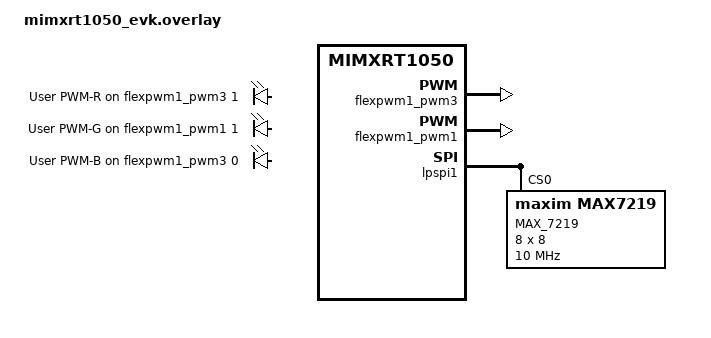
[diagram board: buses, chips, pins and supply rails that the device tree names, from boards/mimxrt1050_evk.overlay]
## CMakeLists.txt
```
set(IS_TEST 1)

cmake_minimum_required(VERSION 3.13.1)
include($ENV{ZEPHYR_BASE}/cmake/app/boilerplate.cmake NO_POLICY_SCOPE)
project(NONE)

FILE(GLOB app_sources src/main.c)
target_sources(app PRIVATE ${app_sources})
```

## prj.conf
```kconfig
CONFIG_PRINTK=y
CONFIG_SHELL=y
CONFIG_KERNEL_SHELL=y
CONFIG_THREAD_MONITOR=y
CONFIG_INIT_STACKS=y
CONFIG_THREAD_NAME=y
CONFIG_DEVICE_SHELL=y
CONFIG_BOOT_BANNER=n
CONFIG_DISPLAY=y
CONFIG_MAX7219=y
#CONFIG_LOG=y
# CONFIG_OBJECT_TRACING=y
CONFIG_PWM=y
CONFIG_SPI=y
```

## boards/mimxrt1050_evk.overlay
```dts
&flexpwm1_pwm3 {
    status = "okay";
};
&flexpwm1_pwm1 {
    status = "okay";
};

&lpspi1 {
    status = "okay";
    display_node: max_7219@0 {
        compatible = "maxim,max7219"; 
        height = <8>;
        width = <8>;
        label = "MAX_7219"; 
        reg = <0>;
        spi-max-frequency = <10000000>; 
    };
};


/ {

    pwm_leds {
        compatible = "pwm-leds";
        r_led: pwm_red {
            pwms = <&flexpwm1_pwm3 1>;
            label = "User PWM-R";
        };

        g_led: pwm_green {
            pwms = <&flexpwm1_pwm1 1>;
            label = "User PWM-G";
        };

        b_led: pwm_blue {
            pwms = <&flexpwm1_pwm3 0>;
            label = "User PWM-B";
        };
    };

 };
```

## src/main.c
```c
/*
 * CSE-522 Assignment 2
 * Author: Roshan Raj Kanakaiprath
 * ASU ID: 1222478062
 */

#include <zephyr.h>
#include <device.h>
#include <devicetree.h>
#include <drivers/pwm.h>
#include <drivers/spi.h>
#include <sys/util.h>
#include <sys/printk.h>
#include <shell/shell.h>
#include <shell/shell_uart.h>
#include <version.h>
#include <stdlib.h>
#include <fsl_iomuxc.h>
#include <drivers/display.h>

//#define DEBUG 

#if defined(DEBUG) 
	#define DPRINTK(fmt, args...) printk("DEBUG: %s():%d: " fmt, \
   		 __func__, __LINE__, ##args)
#else
 	#define DPRINTK(fmt, args...) /* do nothing if not defined*/
#endif

// Use DT marcos to get pwm channel information

#define PWM_NODE_R 			flexpwm1_pwm3
#define PWM_NODE_G			flexpwm1_pwm1
#define PWM_NODE_B			flexpwm1_pwm3

#define RED_PWM				DT_NODELABEL(PWM_NODE_R)
#define GREEN_PWM			DT_NODELABEL(PWM_NODE_G)
#define BLUE_PWM			DT_NODELABEL(PWM_NODE_B)

#define RED_PWM_LABEL 		DT_PROP(RED_PWM, label)
#define GREEN_PWM_LABEL     DT_PROP(GREEN_PWM, label)
#define BLUE_PWM_LABEL      DT_PROP(BLUE_PWM, label)


#define RED_PWM_CHANNEL		DT_PWMS_CHANNEL(DT_NODELABEL(r_led))
#define GREEN_PWM_CHANNEL	DT_PWMS_CHANNEL(DT_NODELABEL(g_led))
#define BLUE_PWM_CHANNEL	DT_PWMS_CHANNEL(DT_NODELABEL(b_led))

#define RED_PWM_FLAGS		DT_PWMS_FLAGS(RED_PWM)
#define GREEN_PWM_FLAGS		DT_PWMS_FLAGS(GREEN_PWM)
#define BLUE_PWM_FLAGS		DT_PWMS_FLAGS(BLUE_PWM)

//USE DT to get DISPLAY NODE Information from overlay
#define DISPLAY_NODE_LABEL	DT_PROP(DT_NODELABEL(display_node),label)
#define MAX_HEIGHT			DT_PROP(DT_NODELABEL(display_node),height)

//PWM Frequency and Period
#define PWM_FREQUENCY			50U
#define PERIOD					USEC_PER_SEC/(PWM_FREQUENCY)


//Create pointers to struct device
const struct device *pwm_red, *pwm_green, *pwm_blue, *display;
static bool blinking_on = false;// Initialize to false
static uint8_t data[MAX_HEIGHT] = {0}; //Initialize to 0

//Shell command callback to implement MAX719_pattern change
static int cmd_led_matrix(const struct shell *shell, size_t argc, char **argv)
{
	uint8_t row_start, height;

	//Error check for number of command arguments
	if (argc < 3)
	{
		shell_print(shell, "Error, Invalid number of arguments\n");
		return 0;
	}

	row_start  = atoi(argv[1]); //Get the row value from command
	height = argc -2;

	//Error check for row bounds
	if(row_start>7)
	{
		shell_print(shell, "Error, row number entered is wrong\n");
		return 0;
	}

	//Error check for max number of command parameters
	if((height)>(MAX_HEIGHT - row_start))
	{
		shell_print(shell, "Error, Invalid number of arguments\n");
		return 0;
	}

	uint8_t loop;

	//Store the command arguments in to data 
	for (loop = 0;loop<height;loop++)
	{
		data[loop + row_start]= strtol(argv[loop+2],NULL,16);
	}

	//Create a structure varialble to point to display_buffer_descriptor
	struct display_buffer_descriptor desc;
	desc.buf_size  = sizeof(data);
	desc.width     = MAX_HEIGHT;
	desc.height    = height;
	desc.pitch		= MAX_HEIGHT;
	
	//Call display driver API to send the data
	display_write(display,0, row_start, &desc, &data);
	return 0;
}

static int cmd_rgb_control(const struct shell *shell, size_t argc, char **argv)
{
	uint32_t rpwm_dc, gpwm_dc, bpwm_dc;
	rpwm_dc = atoi(argv[1]);
	gpwm_dc = atoi(argv[2]);
	bpwm_dc = atoi(argv[3]);

	if(argc != 4)
	{
		shell_print(shell, "Error, Invalid number of arguments\n");
		return 0;
	}
	if((rpwm_dc<0) || (gpwm_dc < 0) || (bpwm_dc < 0) || (rpwm_dc>100) || (gpwm_dc > 100) || (bpwm_dc > 100))
	{
		shell_print(shell, "Error, Arguments must be in the range 0 to 100");
		return 0;
	}
	pwm_pin_set_usec(pwm_red, RED_PWM_CHANNEL, PERIOD, (PERIOD * rpwm_dc)/100, RED_PWM_FLAGS);
	DPRINTK("red blinking\n");
	k_sleep(K_USEC(PERIOD));
	pwm_pin_set_usec(pwm_green, GREEN_PWM_CHANNEL, PERIOD, (PERIOD * gpwm_dc)/100, GREEN_PWM_FLAGS);
	DPRINTK("green blinking\n");
	k_sleep(K_USEC(PERIOD));
	pwm_pin_set_usec(pwm_blue, BLUE_PWM_CHANNEL, PERIOD, (PERIOD * bpwm_dc)/100, BLUE_PWM_FLAGS);
	DPRINTK("blue blinking\n");
	
	return 0;
}

static int cmd_blinking_disp(const struct shell *shell, size_t argc, char **argv)
{

	if(argc!=2){
		shell_print(shell,"Invalid number of arguments or invalid input for n!");
	}
	blinking_on=true;
	if(atoi(argv[1])==0){
		blinking_on=false;
		display_blanking_off(display);
	}
	
	return 0;
}

SHELL_STATIC_SUBCMD_SET_CREATE(sub_commands,
	SHELL_CMD(rgb, NULL, "Provide duty cycles for red, green and blue leds respectively", cmd_rgb_control),
	SHELL_CMD(ledm, NULL, "Led Matrix Command", cmd_led_matrix),
	SHELL_CMD(ledb, NULL,"Blinking mode on and off", cmd_blinking_disp),
	SHELL_SUBCMD_SET_END /* Array terminated. */
);
SHELL_CMD_REGISTER(p2, &sub_commands, "Commands for Assignment2", NULL);

//Function to clear max7219 buffer before using
void max7219_clear()
{
	struct display_buffer_descriptor desc;
	desc.buf_size  = sizeof(data);
	desc.width     = MAX_HEIGHT;
	desc.height    = MAX_HEIGHT;
	desc.pitch		= MAX_HEIGHT;
	
	//Call display driver API to send the data
	display_write(display,0, 0, &desc, &data);
}

void main(void)
{
	// check the labels for each pwm channel and dispaly node

	DPRINTK("From device tree : %s, %s, %s, %s\n", RED_PWM_LABEL, GREEN_PWM_LABEL, BLUE_PWM_LABEL, DISPLAY_NODE_LABEL);

	// hard-coded statements to set up IOMUX for PWM Channels

	IOMUXC_SetPinMux(IOMUXC_GPIO_AD_B0_11_FLEXPWM1_PWMB03, 0);

	IOMUXC_SetPinConfig(IOMUXC_GPIO_AD_B0_11_FLEXPWM1_PWMB03,
			    IOMUXC_SW_PAD_CTL_PAD_PUE(1) |
			    IOMUXC_SW_PAD_CTL_PAD_PKE_MASK |
			    IOMUXC_SW_PAD_CTL_PAD_SPEED(2) |
			    IOMUXC_SW_PAD_CTL_PAD_DSE(6));

	IOMUXC_SetPinMux(IOMUXC_GPIO_SD_B0_03_FLEXPWM1_PWMB01, 0);

	IOMUXC_SetPinConfig(IOMUXC_GPIO_SD_B0_03_FLEXPWM1_PWMB01,
			    IOMUXC_SW_PAD_CTL_PAD_PUE(1) |
			    IOMUXC_SW_PAD_CTL_PAD_PKE_MASK |
			    IOMUXC_SW_PAD_CTL_PAD_SPEED(2) |
			    IOMUXC_SW_PAD_CTL_PAD_DSE(6));

	IOMUXC_SetPinMux(IOMUXC_GPIO_AD_B0_10_FLEXPWM1_PWMA03, 0);

	IOMUXC_SetPinConfig(IOMUXC_GPIO_AD_B0_10_FLEXPWM1_PWMA03,
			    IOMUXC_SW_PAD_CTL_PAD_PUE(1) |
			    IOMUXC_SW_PAD_CTL_PAD_PKE_MASK |
			    IOMUXC_SW_PAD_CTL_PAD_SPEED(2) |
			    IOMUXC_SW_PAD_CTL_PAD_DSE(6));

	//Hard-coded statements to set IOMUX for SPI Interface
	IOMUXC_SetPinMux(IOMUXC_GPIO_SD_B0_01_LPSPI1_PCS0, 0);

	IOMUXC_SetPinConfig(IOMUXC_GPIO_SD_B0_01_LPSPI1_PCS0,
			    IOMUXC_SW_PAD_CTL_PAD_PUE(1) |
			    IOMUXC_SW_PAD_CTL_PAD_PKE_MASK |
			    IOMUXC_SW_PAD_CTL_PAD_SPEED(2) |
			    IOMUXC_SW_PAD_CTL_PAD_DSE(6));

	IOMUXC_SetPinMux(IOMUXC_GPIO_SD_B0_02_LPSPI1_SDO, 0);

	IOMUXC_SetPinConfig(IOMUXC_GPIO_SD_B0_02_LPSPI1_SDO,
			    IOMUXC_SW_PAD_CTL_PAD_PUE(1) |
			    IOMUXC_SW_PAD_CTL_PAD_PKE_MASK |
			    IOMUXC_SW_PAD_CTL_PAD_SPEED(2) |
			    IOMUXC_SW_PAD_CTL_PAD_DSE(6));	

	IOMUXC_SetPinMux(IOMUXC_GPIO_SD_B0_00_LPSPI1_SCK, 0);
	
	IOMUXC_SetPinConfig(IOMUXC_GPIO_SD_B0_00_LPSPI1_SCK,
			    IOMUXC_SW_PAD_CTL_PAD_PUE(1) |
			    IOMUXC_SW_PAD_CTL_PAD_PKE_MASK |
			    IOMUXC_SW_PAD_CTL_PAD_SPEED(2) |
			    IOMUXC_SW_PAD_CTL_PAD_DSE(6));	
	
	//Get Device bindings for all PWM channels and Display device
	pwm_red=device_get_binding(RED_PWM_LABEL);
	if (!pwm_red) {
		DPRINTK("error binding red channel\n");
		return;
	}

	pwm_green=device_get_binding(GREEN_PWM_LABEL);
	if (!pwm_green) {
		DPRINTK("error binding green channel\n");
		return;
	}

	pwm_blue=device_get_binding(BLUE_PWM_LABEL);
	if (!pwm_blue) {
		DPRINTK("error binding blue channel\n");
		return;
	}

	display = device_get_binding(DISPLAY_NODE_LABEL);
	if (!pwm_blue) {
		DPRINTK("error binding blue channel\n");
		return;
	}

	max7219_clear();
	//Loop to implement blinking on/off mode
	while(1)
	{
		if(blinking_on)
		{
			display_blanking_on(display);
			k_msleep(1000);
			display_blanking_off(display);
			k_msleep(1000);
		}
		k_msleep(1);
	}

}
```
